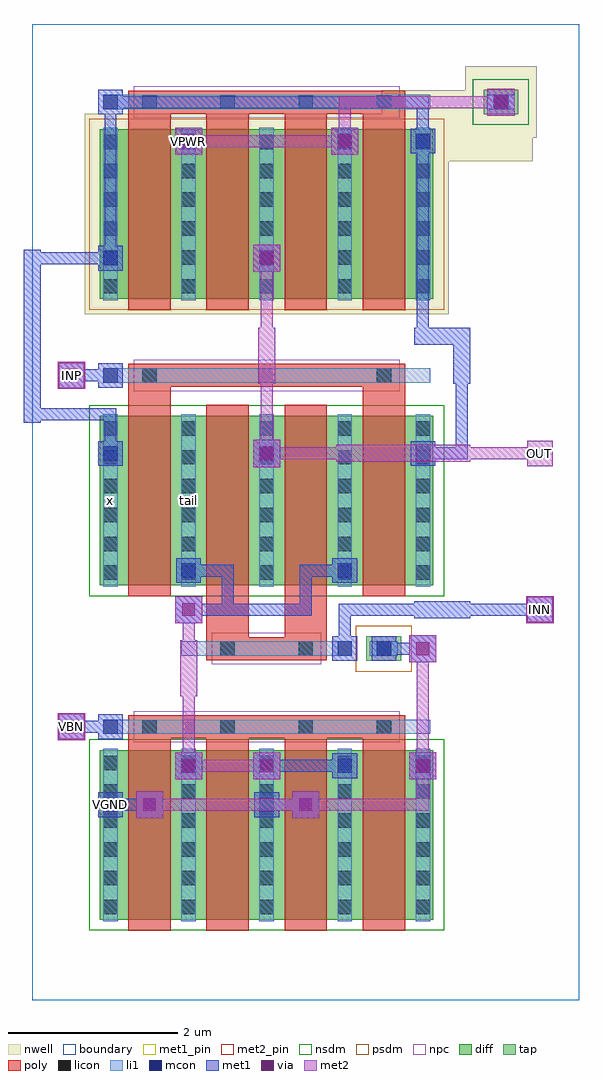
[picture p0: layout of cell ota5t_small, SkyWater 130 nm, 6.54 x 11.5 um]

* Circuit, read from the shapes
.subckt ota5t_small INN INP OUT VBN VGND VPWR tail x
XM1 tail VBN VGND VGND sky130_fd_pr__nfet_01v8 w=2 l=0.5 m=4
XM2 tail INP x VGND sky130_fd_pr__nfet_01v8 w=2 l=0.5 m=2
XM3 OUT INN tail VGND sky130_fd_pr__nfet_01v8 w=2 l=0.5 m=2
XM4 VPWR x x VPWR sky130_fd_pr__pfet_01v8 w=2 l=0.5 m=2
XM5 OUT x VPWR VPWR sky130_fd_pr__pfet_01v8 w=2 l=0.5 m=2
.ends

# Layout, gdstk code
import gdstk
lib = gdstk.Library(unit=1e-6, precision=1e-09)
def R(c, l, rs):  # rectangles x0, y0, x1, y1
    for r in rs: c.add(gdstk.rectangle(r[:2], r[2:], *l))
def A(c, l, x, y, w, h, nx, ny, dx, dy):  # array of equal rectangles
    R(c, l, [(x+i*dx, y+j*dy, x+i*dx+w, y+j*dy+h) for i in range(nx) for j in range(ny)])
nwell = (64, 20)
diff = (65, 20)
tap = (65, 44)
poly = (66, 20)
licon = (66, 44)
li1 = (67, 20)
mcon = (67, 44)
met1_pin = (68, 16)
met1 = (68, 20)
via = (68, 44)
met2_pin = (69, 16)
met2 = (69, 20)
nsdm = (93, 44)
psdm = (94, 20)
npc = (95, 20)
boundary = (235, 4)

ota5t_small = lib.new_cell('ota5t_small')
R(ota5t_small, nwell, [(0.615,8.08,4.905,9.88), (0.615,9.88,5.892,10.16), (0.615,10.16,5.94,10.44), (4.113,10.44,5.94,10.72), (5.1,10.72,5.94,11)])
R(ota5t_small, diff, [(0.795,0.945,4.725,2.945), (0.795,4.885,4.725,6.885), (0.795,8.26,4.725,10.26)])
R(ota5t_small, tap, [(3.935,3.995,4.345,4.285), (5.315,10.435,5.725,10.725)])
A(ota5t_small, poly, 1.13, 0.815, 0.5, 2.405, 4, 1, 0.92, 0)
A(ota5t_small, poly, 1.13, 8.13, 0.5, 2.45, 4, 1, 0.92, 0)
R(ota5t_small, poly, [(1.13,3.085,4.39,3.355), (2.05,4.005,3.47,4.275), (2.05,4.14,2.55,7.015), (2.97,4.14,3.47,7.015), (1.13,4.755,1.63,7.36), (3.89,4.755,4.39,7.36), (1.13,7.225,4.39,7.495), (1.13,10.445,4.39,10.715)])
A(ota5t_small, licon, 0.835, 1.01, 0.17, 0.17, 5, 6, 0.92, 0.34)
A(ota5t_small, licon, 1.295, 3.135, 0.17, 0.17, 4, 2, 0.92, 7.36)
A(ota5t_small, licon, 2.215, 4.055, 0.17, 0.17, 3, 1, 0.92, 0)
A(ota5t_small, licon, 0.835, 4.95, 0.17, 0.17, 5, 6, 0.92, 0.34)
A(ota5t_small, licon, 0.835, 8.325, 0.17, 0.17, 5, 6, 0.92, 0.34)
R(ota5t_small, licon, [(1.295,7.275,1.465,7.445), (4.055,7.275,4.225,7.445), (5.435,10.495,5.605,10.665)])
A(ota5t_small, li1, 0.835, 0.93, 0.17, 2.03, 5, 2, 0.92, 3.94)
A(ota5t_small, li1, 0.835, 8.245, 0.17, 2.03, 5, 1, 0.92, 0)
R(ota5t_small, li1, [(0.835,3.135,4.685,3.305), (1.755,4.055,3.765,4.225), (3.975,4.055,4.305,4.225), (0.835,7.275,4.685,7.445), (0.835,10.495,4.685,10.665), (5.355,10.495,5.685,10.665)])
A(ota5t_small, mcon, 0.835, 6.355, 0.17, 0.17, 3, 1, 1.84, 0)
R(ota5t_small, mcon, [(0.835,2.215,1.005,2.385), (2.675,2.215,2.845,2.385), (1.755,2.675,1.925,2.845), (3.595,2.675,3.765,2.845), (4.515,2.675,4.685,2.845), (0.835,3.135,1.005,3.305), (3.595,4.055,3.765,4.225), (4.055,4.055,4.225,4.225), (1.755,4.975,1.925,5.145), (3.595,4.975,3.765,5.145), (0.835,7.275,1.005,7.445), (0.835,8.655,1.005,8.825), (2.675,8.655,2.845,8.825), (1.755,10.035,1.925,10.205), (3.595,10.035,3.765,10.205), (4.515,10.035,4.685,10.205), (0.835,10.495,1.005,10.665), (5.435,10.495,5.605,10.665)])
R(ota5t_small, met1_pin, [(0.775,2.155,1.065,2.445), (1.695,9.975,1.985,10.265)])
A(ota5t_small, met1, 2.23, 4.53, 1.06, 0.14, 3, 1, 1.38, 0)
A(ota5t_small, met1, 0.775, 6.295, 0.29, 0.29, 3, 1, 1.84, 0)
R(ota5t_small, met1, [(1.22,2.14,1.54,2.46), (3.06,2.14,3.38,2.46), (0.775,2.155,1.065,2.445), (2.615,2.155,2.905,2.445), (0.85,2.23,1.45,2.37), (2.69,2.23,3.29,2.37), (1.68,2.6,2,2.92), (2.6,2.6,2.92,2.92), (4.44,2.6,4.76,2.92), (1.695,2.615,1.985,2.905), (3.535,2.615,3.825,2.905), (4.455,2.615,4.745,2.905), (2.69,2.69,3.75,2.83), (0.3,3.06,0.62,3.38), (0.775,3.075,1.065,3.365), (0.39,3.15,0.99,3.29), (4.44,3.98,4.76,4.3), (3.535,3.995,3.825,4.285), (3.995,3.995,4.285,4.285), (3.61,4.07,3.75,4.67), (4.07,4.07,4.67,4.21), (4.07,4.07,4.21,4.21), (1.68,4.44,2,4.76), (5.82,4.44,6.14,4.76), (4.5,4.5,5.16,4.7), (1.77,4.53,2.37,4.67), (2.23,4.53,2.37,5.13), (3.15,4.53,3.29,5.13), (1.695,4.915,1.985,5.205), (3.535,4.915,3.825,5.205), (1.77,4.99,2.37,5.13), (3.15,4.99,3.75,5.13), (2.6,6.28,2.92,6.6), (0.85,6.37,0.99,6.97), (4.53,6.37,5.13,6.51), (4.99,6.37,5.13,7.43), (-0.1,6.8,0.1,8.84), (-0.07,6.83,0.99,6.97), (0.3,7.2,0.62,7.52), (0.775,7.215,1.065,7.505), (4.96,7.26,5.16,7.92), (0.39,7.29,0.99,7.43), (4.5,7.72,5.16,7.92), (4.53,7.75,4.67,10.19), (2.6,8.58,2.92,8.9), (0.775,8.595,1.065,8.885), (2.615,8.595,2.905,8.885), (-0.07,8.67,0.99,8.81), (0.85,8.67,0.99,10.65), (1.68,9.96,2,10.28), (3.52,9.96,3.84,10.28), (1.695,9.975,1.985,10.265), (3.535,9.975,3.825,10.265), (4.455,9.975,4.745,10.265), (4.53,10.05,4.67,10.65), (5.36,10.42,5.68,10.74), (0.775,10.435,1.065,10.725), (5.375,10.435,5.665,10.725), (0.85,10.51,4.67,10.65), (5.45,10.51,5.59,10.65)])
R(ota5t_small, via, [(1.305,2.225,1.455,2.375), (3.145,2.225,3.295,2.375), (1.765,2.685,1.915,2.835), (2.685,2.685,2.835,2.835), (4.525,2.685,4.675,2.835), (0.385,3.145,0.535,3.295), (4.525,4.065,4.675,4.215), (1.765,4.525,1.915,4.675), (5.905,4.525,6.055,4.675), (2.685,6.365,2.835,6.515), (0.385,7.285,0.535,7.435), (2.685,8.665,2.835,8.815), (1.765,10.045,1.915,10.195), (3.605,10.045,3.755,10.195), (5.445,10.505,5.595,10.655)])
R(ota5t_small, met2_pin, [(0.31,3.07,0.61,3.37), (5.83,4.45,6.13,4.75), (5.83,6.29,6.13,6.59), (0.31,7.21,0.61,7.51)])
R(ota5t_small, met2, [(1.22,2.14,1.54,2.46), (3.06,2.14,3.38,2.46), (1.31,2.23,3.29,2.37), (3.15,2.23,4.67,2.37), (4.53,2.23,4.67,2.83), (1.68,2.6,2,2.92), (2.6,2.6,2.92,2.92), (4.44,2.6,4.76,2.92), (1.77,2.69,1.91,3.75), (1.77,2.69,2.83,2.83), (4.53,2.69,4.67,4.21), (0.3,3.06,0.62,3.38), (0.31,3.07,0.61,3.37), (0.39,3.15,0.53,3.29), (1.74,3.58,1.94,4.24), (4.44,3.98,4.76,4.3), (1.77,4.07,1.91,4.67), (1.68,4.44,2,4.76), (5.82,4.44,6.14,4.76), (5.83,4.45,6.13,4.75), (5.91,4.53,6.05,4.67), (2.6,6.28,2.92,6.6), (5.83,6.29,6.13,6.59), (3.58,6.34,5.16,6.54), (2.69,6.37,2.83,7.43), (2.69,6.37,3.75,6.51), (4.99,6.37,6.05,6.51), (5.91,6.37,6.05,6.51), (0.3,7.2,0.62,7.52), (0.31,7.21,0.61,7.51), (2.66,7.26,2.86,7.92), (0.39,7.29,0.53,7.43), (2.69,7.75,2.83,8.81), (2.6,8.58,2.92,8.9), (1.68,9.96,2,10.28), (3.52,9.96,3.84,10.28), (1.77,10.05,3.75,10.19), (3.61,10.05,3.75,10.65), (5.36,10.42,5.68,10.74), (3.61,10.51,5.59,10.65)])
R(ota5t_small, nsdm, [(0.67,0.82,4.85,3.07), (0.67,4.76,4.85,7.01), (5.19,10.31,5.85,10.85)])
R(ota5t_small, psdm, [(3.81,3.87,4.47,4.41), (0.67,8.135,4.85,10.385)])
R(ota5t_small, npc, [(1.195,3.035,4.325,3.405), (2.115,3.955,3.405,4.325), (1.195,7.175,4.325,7.545), (1.195,10.395,4.325,10.765)])
R(ota5t_small, boundary, [(0,0,6.44,11.5)])
ota5t_small.add(gdstk.Label('x', (0.92,5.885), layer=67, texttype=5))
ota5t_small.add(gdstk.Label('tail', (1.84,5.885), layer=67, texttype=5))
ota5t_small.add(gdstk.Label('VPWR', (1.84,10.12), layer=68, texttype=5))
ota5t_small.add(gdstk.Label('VGND', (0.92,2.3), layer=68, texttype=5))
ota5t_small.add(gdstk.Label('INP', (0.46,7.36), layer=69, texttype=5))
ota5t_small.add(gdstk.Label('INN', (5.98,4.6), layer=69, texttype=5))
ota5t_small.add(gdstk.Label('VBN', (0.46,3.22), layer=69, texttype=5))
ota5t_small.add(gdstk.Label('OUT', (5.98,6.44), layer=69, texttype=5))
ota5t_small.add(gdstk.Label('VPWR', (1.84,10.12), layer=68, texttype=16))
ota5t_small.add(gdstk.Label('VGND', (0.92,2.3), layer=68, texttype=16))
ota5t_small.add(gdstk.Label('INP', (0.46,7.36), layer=69, texttype=16))
ota5t_small.add(gdstk.Label('INN', (5.98,4.6), layer=69, texttype=16))
ota5t_small.add(gdstk.Label('VBN', (0.46,3.22), layer=69, texttype=16))
ota5t_small.add(gdstk.Label('OUT', (5.98,6.44), layer=69, texttype=16))

lib.write_gds('ota5t_small.gds')
